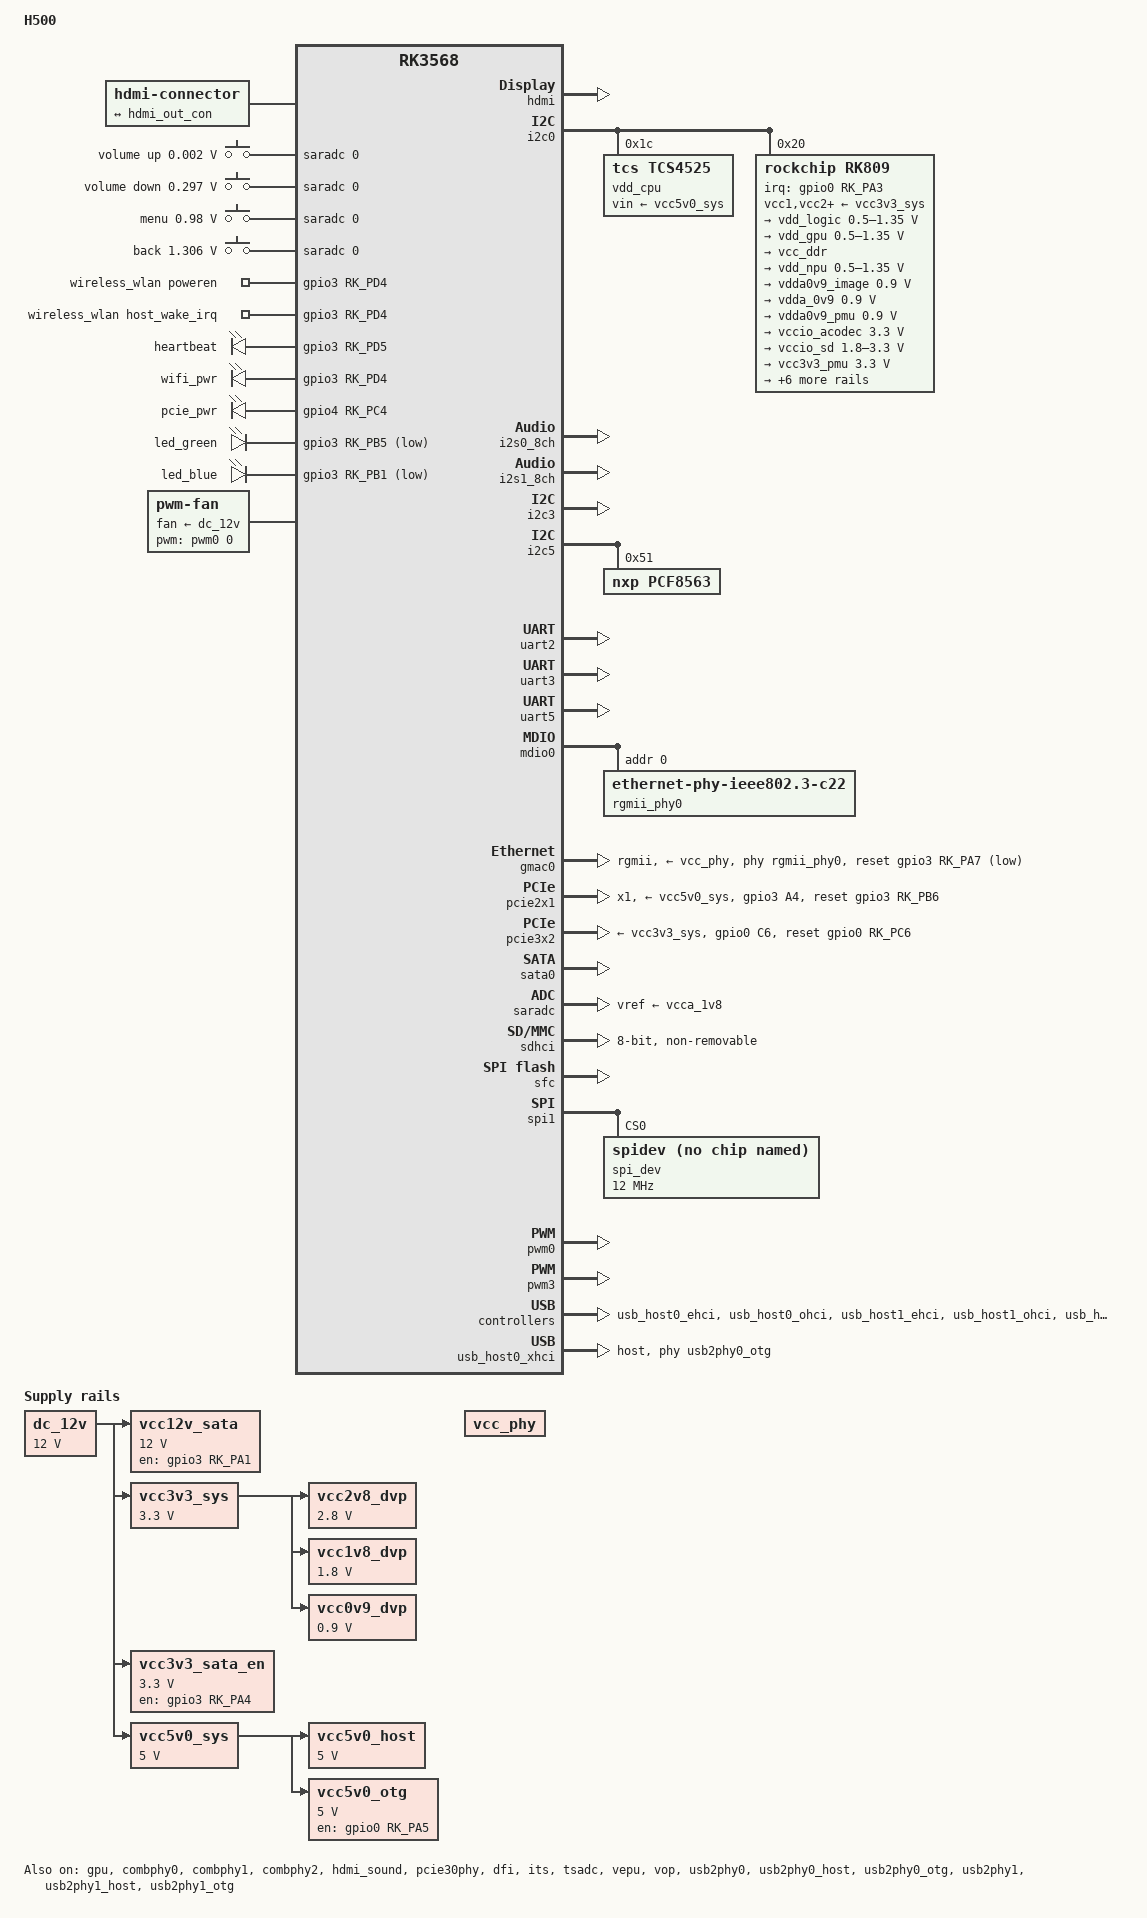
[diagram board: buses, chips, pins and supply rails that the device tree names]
// SPDX-License-Identifier: (GPL-2.0+ OR MIT)
/*
 * Copyright (c) 2020 Rockchip Electronics Co., Ltd.
 *
 */

/dts-v1/;

#include <dt-bindings/gpio/gpio.h>
#include <dt-bindings/leds/common.h>
#include <dt-bindings/pwm/pwm.h>
#include <dt-bindings/input/input.h>
#include <dt-bindings/pinctrl/rockchip.h>
#include <dt-bindings/soc/rockchip,vop2.h>
#include "rk3568.dtsi"

/ {
	model = "H500";
	compatible = "h500", "rockchip,rk3568";
	bootargs = "earlycon=uart8250,mmio32,0xfe660000 console=ttyFIQ0";

	aliases {
		ethernet0 = &gmac0;
		mmc0 = &sdhci;
		mmc1 = &sdmmc0;
	};

	chosen: chosen {
		stdout-path = "serial2:1500000n8";
	};

	hdmi-con {
		compatible = "hdmi-connector";
		type = "a";

		port {
			hdmi_con_in: endpoint {
				remote-endpoint = <&hdmi_out_con>;
			};
		};
	};

	adc_keys: adc-keys {
		compatible = "adc-keys";
		io-channels = <&saradc 0>;
		io-channel-names = "buttons";
		keyup-threshold-microvolt = <1800000>;
		poll-interval = <100>;

		vol-up-key {
			label = "volume up";
			linux,code = <KEY_VOLUMEUP>;
			press-threshold-microvolt = <1750>;
		};

		vol-down-key {
			label = "volume down";
			linux,code = <KEY_VOLUMEDOWN>;
			press-threshold-microvolt = <297500>;
		};

		menu-key {
			label = "menu";
			linux,code = <KEY_MENU>;
			press-threshold-microvolt = <980000>;
		};

		back-key {
			label = "back";
			linux,code = <KEY_BACK>;
			press-threshold-microvolt = <1305500>;
		};
	};

	dc_12v: dc-12v {
		compatible = "regulator-fixed";
		regulator-name = "dc_12v";
		regulator-always-on;
		regulator-boot-on;
		regulator-min-microvolt = <12000000>;
		regulator-max-microvolt = <12000000>;
	};

	vcc12v_sata: vcc12v-sata {
		compatible = "regulator-fixed";
		regulator-name = "vcc12v_sata";
		regulator-always-on;
		regulator-boot-on;
		regulator-min-microvolt = <12000000>;
		regulator-max-microvolt = <12000000>;
		enable-active-high;
		gpio = <&gpio3 RK_PA1 GPIO_ACTIVE_HIGH>;
		pinctrl-names = "default";
		pinctrl-0 = <&vcc12v_sata_enable_h>;
		vin-supply = <&dc_12v>;
	};

	vcc3v3_sys: vcc3v3-sys {
		compatible = "regulator-fixed";
		regulator-name = "vcc3v3_sys";
		regulator-always-on;
		regulator-boot-on;
		regulator-min-microvolt = <3300000>;
		regulator-max-microvolt = <3300000>;
		vin-supply = <&dc_12v>;
	};
	
	vcc3v3_sata_en: vcc3v3-sata-en {
		compatible = "regulator-fixed";
		regulator-name = "vcc3v3_sata_en";
		regulator-always-on;
		regulator-boot-on;
		regulator-min-microvolt = <3300000>;
		regulator-max-microvolt = <3300000>;
		enable-active-high;
		gpio = <&gpio3 RK_PA4 GPIO_ACTIVE_HIGH>;
		pinctrl-names = "default";
		pinctrl-0 = <&asm1064_rst>;
		vin-supply = <&dc_12v>;
	};

	vcc5v0_sys: vcc5v0-sys {
		compatible = "regulator-fixed";
		regulator-name = "vcc5v0_sys";
		regulator-always-on;
		regulator-boot-on;
		regulator-min-microvolt = <5000000>;
		regulator-max-microvolt = <5000000>;
		vin-supply = <&dc_12v>;
	};

	vcc5v0_host: vcc5v0-host-regulator {
		compatible = "regulator-fixed";
		regulator-name = "vcc5v0_host";
		regulator-boot-on;
		regulator-always-on;
		regulator-min-microvolt = <5000000>;
		regulator-max-microvolt = <5000000>;
		vin-supply = <&vcc5v0_sys>;
	};

	vcc5v0_otg: vcc5v0-otg-regulator {
		compatible = "regulator-fixed";
		regulator-name = "vcc5v0_otg";
		regulator-boot-on;
		regulator-always-on;
		regulator-min-microvolt = <5000000>;
		regulator-max-microvolt = <5000000>;
		enable-active-high;
		gpio = <&gpio0 RK_PA5 GPIO_ACTIVE_HIGH>;
		vin-supply = <&vcc5v0_sys>;
		pinctrl-names = "default";
		pinctrl-0 = <&vcc5v0_otg_en>;
	};

	vcc_phy: vcc-phy-regulator {
		compatible = "regulator-fixed";
		regulator-name = "vcc_phy";
		regulator-always-on;
		regulator-boot-on;
	};
	
	vcc2v8_dvp: vcc2v8-sys {
		compatible = "regulator-fixed";
		regulator-name = "vcc2v8_dvp";
		regulator-always-on;
		regulator-boot-on;
		regulator-min-microvolt = <2800000>;
		regulator-max-microvolt = <2800000>;
		vin-supply = <&vcc3v3_sys>;
	};

	vcc1v8_dvp: vcc1v8-dvp {
		compatible = "regulator-fixed";
		regulator-name = "vcc1v8_dvp";
		regulator-always-on;
		regulator-boot-on;
		regulator-min-microvolt = <1800000>;
		regulator-max-microvolt = <1800000>;
		vin-supply = <&vcc3v3_sys>;
	};

	vcc0v9_dvp: vcc0v9-dvp {
		compatible = "regulator-fixed";
		regulator-name = "vcc0v9_dvp";
		regulator-always-on;
		regulator-boot-on;
		regulator-min-microvolt = <900000>;
		regulator-max-microvolt = <900000>;
		vin-supply = <&vcc3v3_sys>;
	};

	wireless_wlan: wireless-wlan {
        	compatible = "wlan-platdata";    
        	wifi_chip_type = "rtl8723du";
        	rockchip,grf = <&grf>;
        	WIFI,poweren_gpio = <&gpio3 RK_PD4 GPIO_ACTIVE_HIGH>;
        	keep_wifi_power_on;
        	status = "okay";
    	};
	
	wireless_bluetooth: wireless-bluetooth {
		compatible = "bluetooth-platdata";
		clocks = <&rk809 1>;
		clock-names = "ext_clock";
		status = "okay";
	};	

	leds {
		compatible = "gpio-leds";
		pinctrl-names = "default";    
		pinctrl-0 = <&heartbeat_pin &wifi_pwr_pin &pcie_pwr_pin &led_green_pin &led_blue_pin>;
		status = "okay";

		heartbeat {
			label = "heartbeat";
			gpios = <&gpio3 RK_PD5 GPIO_ACTIVE_HIGH>;
			default-state = "on";
			linux,default-trigger = "heartbeat";
		};

		wifi_pwr {
			label = "wifi_pwr";
			gpios = <&gpio3 RK_PD4 GPIO_ACTIVE_HIGH>;
			default-state = "on";
		};

		pcie_pwr {
			label = "pcie_pwr";
			gpios = <&gpio4 RK_PC4 GPIO_ACTIVE_HIGH>;
			default-state = "on";
		};

		led_green {
			label = "led_green";
			gpios = <&gpio3 RK_PB5 GPIO_ACTIVE_LOW>;
			default-state = "on";
			linux,default-trigger = "heartbeat";
		};

		led_blue {
			label = "led_blue";
			gpios = <&gpio3 RK_PB1 GPIO_ACTIVE_LOW>;
			default-state = "on";
			inux,default-trigger = "heartbeat";
		};
	};

	rk809_sound: rk809-sound {
		status = "okay";
		compatible = "simple-audio-card";
		simple-audio-card,format = "i2s";
		simple-audio-card,name = "rockchip,rk809-codec";
		simple-audio-card,mclk-fs = <256>;

		simple-audio-card,cpu {
			sound-dai = <&i2s1_8ch>;
		};
		simple-audio-card,codec {
			sound-dai = <&rk809_codec>;
		};
	};

	fan: pwm-fan {
		compatible = "pwm-fan";
		#cooling-cells = <2>;
		pwms = <&pwm0 0 40000 0>;
		fan-supply = <&dc_12v>;
		cooling-levels = <0 50 100 150 200 255>;
		rockchip,temp-trips = < 50000   1
					60000   2
					65000   3
					70000   4
					80000   5 >;
	};	
};

&cpu0 {
	cpu-supply = <&vdd_cpu>;
};

&cpu1 {
	cpu-supply = <&vdd_cpu>;
};

&cpu2 {
	cpu-supply = <&vdd_cpu>;
};

&cpu3 {
	cpu-supply = <&vdd_cpu>;
};

&gpu {
	mali-supply = <&vdd_gpu>;
	status = "okay";
};

&cpu_thermal {
	trips {
		cpu_low: cpu-low {
			temperature = <50000>;
			hysteresis = <2000>;
			type = "active";
		};
		cpu_warm: cpu-warm {
			temperature = <60000>;
			hysteresis = <2000>;
			type = "active";
		};
		cpu_hot: cpu-hot {
			temperature = <70000>;
			hysteresis = <2000>;
			type = "active";
		};
		cpu_hall: cpu-hall {
			temperature = <80000>;
			hysteresis = <2000>;
			type = "active";
		};
	};

	cooling-maps {
		map0 {
			trip = <&cpu_low>;
			cooling-device = <&fan 0 1>;
		};
		map1 {
			trip = <&cpu_warm>;
			cooling-device = <&fan 1 2>;
		};
		map2 {
			trip = <&cpu_hot>;
			cooling-device = <&fan 2 4>;
		};
		map3 {
			trip = <&cpu_hall>;
			cooling-device = <&fan 4 5>;
		};
	};
};

&combphy0 {
	status = "okay";
};

&combphy1 { 
	status = "okay";
};

&combphy2 {
	status = "okay";
};

&hdmi {
	avdd-0v9-supply = <&vdda0v9_image>;
	avdd-1v8-supply = <&vcca1v8_image>;
	status = "okay";
};

&hdmi_in {
	hdmi_in_vp0: endpoint {
		remote-endpoint = <&vp0_out_hdmi>;
	};
};

&hdmi_out {
	hdmi_out_con: endpoint {
		remote-endpoint = <&hdmi_con_in>;
	};
};

&hdmi_sound {
	status = "okay";
};

&i2c0 {
	status = "okay";

	vdd_cpu: regulator@1c {
		compatible = "tcs,tcs4525";
		reg = <0x1c>;
		fcs,suspend-voltage-selector = <1>;
		regulator-name = "vdd_cpu";
		regulator-min-microvolt = <712500>;
		regulator-max-microvolt = <1390000>;
		regulator-ramp-delay = <2300>;
		regulator-always-on;
		regulator-boot-on;
		vin-supply = <&vcc5v0_sys>;

		regulator-state-mem {
			regulator-off-in-suspend;
		};
	};

	rk809: pmic@20 {
		compatible = "rockchip,rk809";
		reg = <0x20>;
		interrupt-parent = <&gpio0>;
		interrupts = <RK_PA3 IRQ_TYPE_LEVEL_LOW>;
		assigned-clocks = <&cru I2S1_MCLKOUT_TX>;
		assigned-clock-parents = <&cru CLK_I2S1_8CH_TX>;
		clocks = <&cru I2S1_MCLKOUT_TX>;
		#clock-cells = <1>;
		clock-names = "mclk";
		pinctrl-names = "default", "pmic-sleep", "pmic-power-off", "pmic-reset";
		pinctrl-0 = <&pmic_int>;
		pinctrl-1 = <&soc_slppin_slp &rk817_slppin_slp>;
		pinctrl-2 = <&soc_slppin_gpio &rk817_slppin_pwrdn>;
		pinctrl-3 = <&soc_slppin_rst &rk817_slppin_rst>;
		clock-output-names = "rk808-clkout1", "rk808-clkout2";
		system-power-controller;
		wakeup-source;
		#sound-dai-cells = <0>;
		pmic-reset-func = <0>;
		not-save-power-en = <0x01>;
		vcc1-supply = <&vcc3v3_sys>;
		vcc2-supply = <&vcc3v3_sys>;
		vcc3-supply = <&vcc3v3_sys>;
		vcc4-supply = <&vcc3v3_sys>;
		vcc5-supply = <&vcc3v3_sys>;
		vcc6-supply = <&vcc3v3_sys>;
		vcc7-supply = <&vcc3v3_sys>;
		vcc8-supply = <&vcc3v3_sys>;
		vcc9-supply = <&vcc3v3_sys>;

		pwrkey {
			status = "okay";
		};

		pinctrl_rk8xx: pinctrl_rk8xx {
			gpio-controller;
			#gpio-cells = <2>;

			rk817_slppin_null: rk817_slppin_null {
				pins = "gpio_slp";
				function = "pin_fun0";
			};

			rk817_slppin_slp: rk817_slppin_slp {
				pins = "gpio_slp";
				function = "pin_fun1";
			};

			rk817_slppin_pwrdn: rk817_slppin_pwrdn {
				pins = "gpio_slp";
				function = "pin_fun2";
			};

			rk817_slppin_rst: rk817_slppin_rst {
				pins = "gpio_slp";
				function = "pin_fun3";
			};
		};

		regulators {
			vdd_logic: DCDC_REG1 {
				regulator-always-on;
				regulator-boot-on;
				regulator-min-microvolt = <500000>;
				regulator-max-microvolt = <1350000>;
				regulator-init-microvolt = <900000>;
				regulator-ramp-delay = <6001>;
				regulator-initial-mode = <0x2>;
				regulator-name = "vdd_logic";
				regulator-state-mem {
					regulator-off-in-suspend;
				};
			};

			vdd_gpu: DCDC_REG2 {
				regulator-always-on;
				regulator-boot-on;
				regulator-min-microvolt = <500000>;
				regulator-max-microvolt = <1350000>;
				regulator-init-microvolt = <900000>;
				regulator-ramp-delay = <6001>;
				regulator-initial-mode = <0x2>;
				regulator-name = "vdd_gpu";
				regulator-state-mem {
					regulator-off-in-suspend;
				};
			};

			vcc_ddr: DCDC_REG3 {
				regulator-always-on;
				regulator-boot-on;
				regulator-initial-mode = <0x2>;
				regulator-name = "vcc_ddr";
				regulator-state-mem {
					regulator-on-in-suspend;
				};
			};

			vdd_npu: DCDC_REG4 {
				regulator-always-on;
				regulator-boot-on;
				regulator-min-microvolt = <500000>;
				regulator-max-microvolt = <1350000>;
				regulator-init-microvolt = <900000>;
				regulator-ramp-delay = <6001>;
				regulator-initial-mode = <0x2>;
				regulator-name = "vdd_npu";
				regulator-state-mem {
					regulator-off-in-suspend;
				};
			};

			vdda0v9_image: LDO_REG1 {
				regulator-boot-on;
				regulator-always-on;
				regulator-min-microvolt = <900000>;
				regulator-max-microvolt = <900000>;
				regulator-name = "vdda0v9_image";
				regulator-state-mem {
					regulator-off-in-suspend;
				};
			};

			vdda_0v9: LDO_REG2 {
				regulator-always-on;
				regulator-boot-on;
				regulator-min-microvolt = <900000>;
				regulator-max-microvolt = <900000>;
				regulator-name = "vdda_0v9";
				regulator-state-mem {
					regulator-off-in-suspend;
				};
			};

			vdda0v9_pmu: LDO_REG3 {
				regulator-always-on;
				regulator-boot-on;
				regulator-min-microvolt = <900000>;
				regulator-max-microvolt = <900000>;
				regulator-name = "vdda0v9_pmu";
				regulator-state-mem {
					regulator-on-in-suspend;
					regulator-suspend-microvolt = <900000>;
				};
			};

			vccio_acodec: LDO_REG4 {
				regulator-always-on;
				regulator-boot-on;
				regulator-min-microvolt = <3300000>;
				regulator-max-microvolt = <3300000>;
				regulator-name = "vccio_acodec";
				regulator-state-mem {
					regulator-off-in-suspend;
				};
			};

			vccio_sd: LDO_REG5 {
				regulator-always-on;
				regulator-boot-on;
				regulator-min-microvolt = <1800000>;
				regulator-max-microvolt = <3300000>;
				regulator-name = "vccio_sd";
				regulator-state-mem {
					regulator-off-in-suspend;
				};
			};

			vcc3v3_pmu: LDO_REG6 {
				regulator-always-on;
				regulator-boot-on;
				regulator-min-microvolt = <3300000>;
				regulator-max-microvolt = <3300000>;
				regulator-name = "vcc3v3_pmu";
				regulator-state-mem {
					regulator-on-in-suspend;
					regulator-suspend-microvolt = <3300000>;
				};
			};

			vcca_1v8: LDO_REG7 {
				regulator-always-on;
				regulator-boot-on;
				regulator-min-microvolt = <1800000>;
				regulator-max-microvolt = <1800000>;
				regulator-name = "vcca_1v8";
				regulator-state-mem {
					regulator-off-in-suspend;
				};
			};

			vcca1v8_pmu: LDO_REG8 {
				regulator-always-on;
				regulator-boot-on;
				regulator-min-microvolt = <1800000>;
				regulator-max-microvolt = <1800000>;
				regulator-name = "vcca1v8_pmu";
				regulator-state-mem {
					regulator-on-in-suspend;
					regulator-suspend-microvolt = <1800000>;
				};
			};

			vcca1v8_image: LDO_REG9 {
				regulator-always-on;
				regulator-boot-on;
				regulator-min-microvolt = <1800000>;
				regulator-max-microvolt = <1800000>;
				regulator-name = "vcca1v8_image";
				regulator-state-mem {
					regulator-off-in-suspend;
				};
			};

			vcc_1v8: DCDC_REG5 {
				regulator-always-on;
				regulator-boot-on;
				regulator-min-microvolt = <1800000>;
				regulator-max-microvolt = <1800000>;
				regulator-name = "vcc_1v8";
				regulator-state-mem {
					regulator-off-in-suspend;
				};
			};

			vcc_3v3: SWITCH_REG1 {
				regulator-always-on;
				regulator-boot-on;
				regulator-name = "vcc_3v3";
				regulator-state-mem {
					regulator-off-in-suspend;
				};
			};

			vcc3v3_sd: SWITCH_REG2 {
				regulator-always-on;
				regulator-boot-on;
				regulator-name = "vcc3v3_sd";
				regulator-state-mem {
					regulator-off-in-suspend;
				};
			};
		};

		rk809_codec: codec {
			#sound-dai-cells = <0>;
			mic-in-differential;
			status = "disabled";
		};
	};
};

&i2s0_8ch {
	status = "okay";
};

&i2s1_8ch {
	rockchip,trcm-sync-tx-only;
	status = "okay";
};

&i2c3 {
	status = "okay";
};

&i2c5 {
	status = "okay";

	pcf8563: rtc@51 {
		status = "okay";
		compatible = "nxp,pcf8563";
		reg = <0x51>;
		#clock-cells = <0>;
	};	
};

&uart2 {
	status = "okay";
};

&uart3 {
	status = "okay";
	pinctrl-names = "default";
	pinctrl-0 = <&uart3m1_xfer>;
};

&uart5 {
	status = "okay";
	pinctrl-names = "default";
	pinctrl-0 = <&uart5m1_xfer>;
};

&mdio0 {
	rgmii_phy0: phy@0 {
		compatible = "ethernet-phy-ieee802.3-c22";
		reg = <0x0>;
	};
};

&gmac0 {
	phy-mode = "rgmii";
	clock_in_out = "input";	
	snps,reset-gpio = <&gpio3 RK_PA7 GPIO_ACTIVE_LOW>;
	snps,reset-active-low;
	snps,reset-delays-us = <0 20000 100000>;
	assigned-clocks = <&cru SCLK_GMAC0_RX_TX>, <&cru SCLK_GMAC0>;
	assigned-clock-parents = <&cru SCLK_GMAC0_RGMII_SPEED>, <&cru CLK_MAC0_2TOP>;
	assigned-clock-rates = <0>, <125000000>;
	pinctrl-names = "default";
	pinctrl-0 = <&gmac0_miim
		     &gmac0_tx_bus2
		     &gmac0_rx_bus2
		     &gmac0_rgmii_clk
		     &gmac0_rgmii_bus>;
	tx_delay = <0x2e>;
	rx_delay = <0x2a>;
	phy-handle = <&rgmii_phy0>;
	phy-supply = <&vcc_phy>;
	status = "okay";	
};
	
&pcie2x1 {
	num-lanes = <1>;
	num-viewport = <4>;
	pinctrl-0 = <&asm1064_rst>;
	reset-deassert-ms = <500>;
	reset-gpios = <&gpio3 RK_PB6 GPIO_ACTIVE_HIGH>;
	vpcie3v3-supply = <&vcc5v0_sys>;
	status = "okay";
};

&pcie30phy {
	status = "okay";
};

&pcie3x2 {
	pinctrl-names = "default";
	pinctrl-0 = <&pcie_reset_h>;
	reset-gpios = <&gpio0 RK_PC6 GPIO_ACTIVE_HIGH>;
	vpcie3v3-supply = <&vcc3v3_sys>;
	status = "okay";
};

&sata0 {
	status = "okay";
};

&sata1 {
	status = "disabled";
};

&saradc {
	status = "okay";
	vref-supply = <&vcca_1v8>;
};

&wireless_wlan {
	pinctrl-names = "default";
	pinctrl-0 = <&wifi_host_wake_irq>;
	WIFI,host_wake_irq = <&gpio3 RK_PD4 GPIO_ACTIVE_HIGH>;
	wifi_chip_type = "rtl8723du";
	status = "okay";
};

&sdhci {
	bus-width = <8>;
	supports-emmc;
	non-removable;
	max-frequency = <200000000>;
	pinctrl-names = "default";
	pinctrl-0 = <&emmc_bus8 &emmc_clk &emmc_cmd &emmc_datastrobe>;	
	status = "okay";
};

&sfc {
	status = "okay";
};

&dfi {
	status = "okay";
};

&its {
	status = "okay";
};

&tsadc {
	status = "okay";
	pinctrl-names = "default";
	pinctrl-0 = <&tsadc_pin>;
};

&pmu_io_domains {
	pmuio1-supply = <&vcc3v3_pmu>;
	pmuio2-supply = <&vcc3v3_pmu>;
	vccio1-supply = <&vccio_acodec>;
	vccio2-supply = <&vcc_1v8>;
	vccio3-supply = <&vccio_sd>;
	vccio4-supply = <&vcc_1v8>;
	vccio5-supply = <&vcc_3v3>;
	vccio6-supply = <&vcc_1v8>;
	vccio7-supply = <&vcc_3v3>;
	status = "okay";
};

&spi1 {
	status = "okay";
	pinctrl-names = "default";
	pinctrl-0 = <3 RK_PC1 3 &pcfg_pull_none>;
	spi_dev@0 {
		compatible = "rockchip,spidev";
		reg = <0x0>;
		spi-max-frequency = <0xb71b00>;
	};	
};

&pwm0 {
	pinctrl-0 = <&pwm0m1_pins>;
	pinctrl-names = "default";
	status = "okay";
};

&pwm3 {
	status = "okay";
};

&pinctrl {

	wireless-wlan {
		wifi_host_wake_irq: wifi-host-wake-irq {
			rockchip,pins = <3 RK_PD4 RK_FUNC_GPIO &pcfg_pull_up>;
		};
	};	

	tsadc {
		tsadc_pin: tsadc-pin {
			rockchip,pins = <0 RK_PA1 0 &pcfg_pull_none>; 
	        };
	    };

	pmic {
		pmic_int: pmic_int {
			rockchip,pins =
				<0 RK_PA3 RK_FUNC_GPIO &pcfg_pull_up>;
		};

		soc_slppin_gpio: soc_slppin_gpio {
			rockchip,pins =
				<0 RK_PA2 RK_FUNC_GPIO &pcfg_pull_down>;
		};

		soc_slppin_slp: soc_slppin_slp {
			rockchip,pins =
				<0 RK_PA2 1 &pcfg_pull_up>;
		};

		soc_slppin_rst: soc_slppin_rst {
			rockchip,pins =
				<0 RK_PA2 2 &pcfg_pull_none>;
		};
	};	

	usb {
		vcc5v0_otg_en: vcc5v0-otg-en {
			rockchip,pins = <0 RK_PA5 RK_FUNC_GPIO &pcfg_pull_none>;
		};
	};
	
	sata {
		vcc12v_sata_enable_h: vcc12v_sata_enable_h {
			rockchip,pins = <3 RK_PA1 RK_FUNC_GPIO &pcfg_pull_none>;
		};
		asm1064_rst: asm1064_rst {
			rockchip,pins = <3 RK_PA4 RK_FUNC_GPIO &pcfg_pull_none>;
		};
	};
	
	gpio-leds {
		heartbeat_pin: heartbeat-pin {
			rockchip,pins = <3 RK_PD5 RK_FUNC_GPIO &pcfg_pull_none>;
        };

		wifi_pwr_pin: wifi-pwr-pin {
			rockchip,pins = <3 RK_PD4 RK_FUNC_GPIO &pcfg_pull_none>;
        };

		pcie_pwr_pin: pcie-pwr-pin {
			rockchip,pins = <4 RK_PC4 RK_FUNC_GPIO &pcfg_pull_none>;
        };
		
		led_green_pin: led-green-pin {
			rockchip,pins = <3 RK_PB5 RK_FUNC_GPIO &pcfg_pull_none>;
		};

		led_blue_pin: led-blue-pin {
			rockchip,pins = <3 RK_PB1 RK_FUNC_GPIO &pcfg_pull_none>;
		};
	};

	spi1 {
		/omit-if-no-ref/
		spi1m1_mosi: spi1m1-mosi {
			rockchip,pins =
				<3 RK_PC1 3 &pcfg_pull_none>;
		};	
	};

	fan-fg {
		fg_pin: fg-pin {
			rockchip,pins = <0 RK_PC4 RK_FUNC_GPIO &pcfg_pull_up>;
		};
	};

	pcie {
		pcie_reset_h: pcie-reset-h {
			rockchip,pins = <0 RK_PC6 RK_FUNC_GPIO &pcfg_pull_none>;
		};
	};	
};

&vepu {
	status = "okay";
};

&vepu_mmu {
	status = "okay";
};

&vp0 {
	vp0_out_hdmi: endpoint@ROCKCHIP_VOP2_EP_HDMI0 {
		reg = <ROCKCHIP_VOP2_EP_HDMI0>;
		remote-endpoint = <&hdmi_in_vp0>;
	};
};

&vop {
	status = "okay";
	assigned-clocks = <&cru DCLK_VOP0>, <&cru DCLK_VOP1>;
	assigned-clock-parents = <&pmucru PLL_HPLL>, <&cru PLL_VPLL>;
};

&vop_mmu {
	status = "okay";
};

&usb2phy0 {
	status = "okay";
};

&usb2phy0_host {
	phy-supply = <&vcc5v0_host>;
	status = "okay";
};

&usb2phy0_otg {
	phy-supply = <&vcc5v0_otg>;
	status = "okay";
};

&usb_host0_ehci {
	status = "okay";
};

&usb_host0_ohci {
	status = "okay";
};

&usb2phy1 {
	status = "okay";
};

&usb2phy1_host {
	status = "okay";
};

&usb2phy1_otg {
	phy-supply = <&vcc5v0_host>;
	status = "okay";
};

&usb_host1_ehci {
	status = "okay";
};

&usb_host1_ohci {
	status = "okay";
};

&usb_host0_xhci {
	phys = <&usb2phy0_otg>;
	phy-names = "usb2-phy";
	extcon = <&usb2phy0>;
	maximum-speed = "high-speed";
	dr_mode = "host";
	status = "okay";
};

&usb_host1_xhci {
	status = "okay";
};
